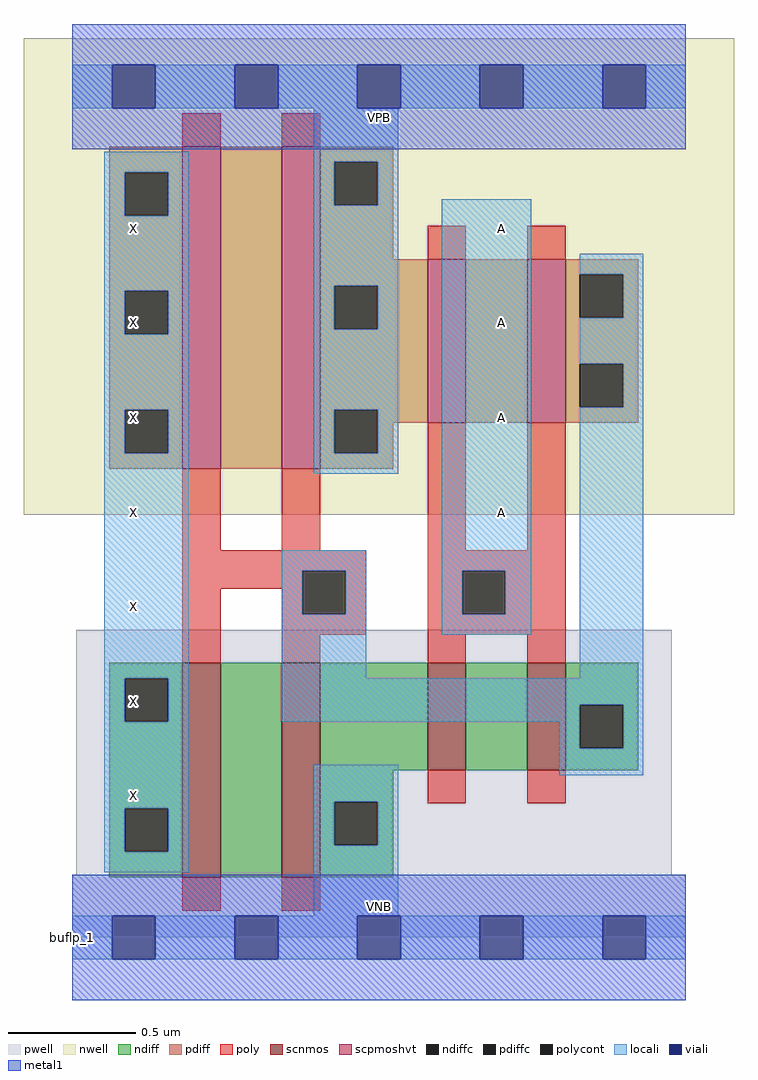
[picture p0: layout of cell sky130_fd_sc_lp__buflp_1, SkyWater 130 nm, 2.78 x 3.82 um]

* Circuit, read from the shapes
.subckt sky130_fd_sc_lp__buflp_1 A VGND VNB VPB VPWR X
XM1 n1 n2 X VNB sky130_fd_pr__nfet_01v8 w=0.84 l=0.15
XM2 VGND n2 n1 VNB sky130_fd_pr__nfet_01v8 w=0.84 l=0.15
XM3 n3 A VGND VNB sky130_fd_pr__nfet_01v8 w=0.42 l=0.15
XM4 n2 A n3 VNB sky130_fd_pr__nfet_01v8 w=0.42 l=0.15
XM5 n4 n2 X VPB sky130_fd_pr__pfet_01v8_hvt w=1.26 l=0.15
XM6 VPWR n2 n4 VPB sky130_fd_pr__pfet_01v8_hvt w=1.26 l=0.15
XM7 n5 A VPWR VPB sky130_fd_pr__pfet_01v8_hvt w=0.64 l=0.15
XM8 n2 A n5 VPB sky130_fd_pr__pfet_01v8_hvt w=0.64 l=0.15
.ends

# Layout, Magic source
magic
tech sky130A
magscale 1 2
<< nwell >>
rect -38 331 518 704
<< pwell >>
rect 3 49 469 241
rect 0 0 480 49
<< scnmos >>
rect 86 47 116 215
rect 164 47 194 215
rect 278 131 308 215
rect 356 131 386 215
<< scpmoshvt >>
rect 86 367 116 619
rect 164 367 194 619
rect 278 403 308 531
rect 356 403 386 531
<< ndiff >>
rect 29 203 86 215
rect 29 169 41 203
rect 75 169 86 203
rect 29 101 86 169
rect 29 67 41 101
rect 75 67 86 101
rect 29 47 86 67
rect 116 47 164 215
rect 194 131 278 215
rect 308 131 356 215
rect 386 182 443 215
rect 386 148 397 182
rect 431 148 443 182
rect 386 131 443 148
rect 194 106 251 131
rect 194 72 205 106
rect 239 72 251 106
rect 194 47 251 72
<< pdiff >>
rect 29 599 86 619
rect 29 565 41 599
rect 75 565 86 599
rect 29 506 86 565
rect 29 472 41 506
rect 75 472 86 506
rect 29 413 86 472
rect 29 379 41 413
rect 75 379 86 413
rect 29 367 86 379
rect 116 367 164 619
rect 194 607 251 619
rect 194 573 205 607
rect 239 573 251 607
rect 194 531 251 573
rect 194 510 278 531
rect 194 476 205 510
rect 239 476 278 510
rect 194 413 278 476
rect 194 379 205 413
rect 239 403 278 413
rect 308 403 356 531
rect 386 519 443 531
rect 386 485 397 519
rect 431 485 443 519
rect 386 449 443 485
rect 386 415 397 449
rect 431 415 443 449
rect 386 403 443 415
rect 239 379 251 403
rect 194 367 251 379
<< ndiffc >>
rect 41 169 75 203
rect 41 67 75 101
rect 397 148 431 182
rect 205 72 239 106
<< pdiffc >>
rect 41 565 75 599
rect 41 472 75 506
rect 41 379 75 413
rect 205 573 239 607
rect 205 476 239 510
rect 205 379 239 413
rect 397 485 431 519
rect 397 415 431 449
<< poly >>
rect 86 619 116 645
rect 164 619 194 645
rect 278 531 308 557
rect 356 531 386 557
rect 86 303 116 367
rect 164 303 194 367
rect 278 303 308 403
rect 356 303 386 403
rect 86 287 230 303
rect 86 273 180 287
rect 86 215 116 273
rect 164 253 180 273
rect 214 253 230 287
rect 164 237 230 253
rect 278 287 386 303
rect 278 253 305 287
rect 339 253 386 287
rect 278 237 386 253
rect 164 215 194 237
rect 278 215 308 237
rect 356 215 386 237
rect 278 105 308 131
rect 356 105 386 131
rect 86 21 116 47
rect 164 21 194 47
<< polycont >>
rect 180 253 214 287
rect 305 253 339 287
<< locali >>
rect 0 649 31 683
rect 65 649 127 683
rect 161 649 223 683
rect 257 649 319 683
rect 353 649 415 683
rect 449 649 480 683
rect 25 599 91 615
rect 25 565 41 599
rect 75 565 91 599
rect 25 506 91 565
rect 25 472 41 506
rect 75 472 91 506
rect 25 413 91 472
rect 25 379 41 413
rect 75 379 91 413
rect 25 203 91 379
rect 189 607 255 649
rect 189 573 205 607
rect 239 573 255 607
rect 189 510 255 573
rect 189 476 205 510
rect 239 476 255 510
rect 189 413 255 476
rect 189 379 205 413
rect 239 379 255 413
rect 189 363 255 379
rect 25 169 41 203
rect 75 169 91 203
rect 164 287 230 303
rect 164 253 180 287
rect 214 253 230 287
rect 164 203 230 253
rect 289 287 359 578
rect 289 253 305 287
rect 339 253 359 287
rect 289 237 359 253
rect 397 519 447 535
rect 431 485 447 519
rect 397 449 447 485
rect 431 415 447 449
rect 397 203 447 415
rect 164 182 447 203
rect 164 169 397 182
rect 25 101 91 169
rect 381 148 397 169
rect 431 148 447 182
rect 25 67 41 101
rect 75 67 91 101
rect 25 51 91 67
rect 189 106 255 135
rect 381 127 447 148
rect 189 72 205 106
rect 239 72 255 106
rect 189 17 255 72
rect 0 -17 31 17
rect 65 -17 127 17
rect 161 -17 223 17
rect 257 -17 319 17
rect 353 -17 415 17
rect 449 -17 480 17
<< viali >>
rect 31 649 65 683
rect 127 649 161 683
rect 223 649 257 683
rect 319 649 353 683
rect 415 649 449 683
rect 31 -17 65 17
rect 127 -17 161 17
rect 223 -17 257 17
rect 319 -17 353 17
rect 415 -17 449 17
<< metal1 >>
rect 0 683 480 715
rect 0 649 31 683
rect 65 649 127 683
rect 161 649 223 683
rect 257 649 319 683
rect 353 649 415 683
rect 449 649 480 683
rect 0 617 480 649
rect 0 17 480 49
rect 0 -17 31 17
rect 65 -17 127 17
rect 161 -17 223 17
rect 257 -17 319 17
rect 353 -17 415 17
rect 449 -17 480 17
rect 0 -49 480 -17
<< labels >>
flabel pwell s 0 0 480 49 0 FreeSans 200 0 0 0 VNB
port 3 nsew ground bidirectional
flabel nwell s 0 617 480 666 0 FreeSans 200 0 0 0 VPB
port 4 nsew power bidirectional
rlabel comment s 0 0 0 0 4 buflp_1
flabel metal1 s 0 617 480 666 0 FreeSans 340 0 0 0 VPWR
port 5 nsew power bidirectional
flabel metal1 s 0 0 480 49 0 FreeSans 340 0 0 0 VGND
port 2 nsew ground bidirectional
flabel locali s 319 316 353 350 0 FreeSans 340 0 0 0 A
port 1 nsew signal input
flabel locali s 319 390 353 424 0 FreeSans 340 0 0 0 A
port 1 nsew signal input
flabel locali s 319 464 353 498 0 FreeSans 340 0 0 0 A
port 1 nsew signal input
flabel locali s 319 538 353 572 0 FreeSans 340 0 0 0 A
port 1 nsew signal input
flabel locali s 31 94 65 128 0 FreeSans 340 0 0 0 X
port 6 nsew signal output
flabel locali s 31 168 65 202 0 FreeSans 340 0 0 0 X
port 6 nsew signal output
flabel locali s 31 242 65 276 0 FreeSans 340 0 0 0 X
port 6 nsew signal output
flabel locali s 31 316 65 350 0 FreeSans 340 0 0 0 X
port 6 nsew signal output
flabel locali s 31 390 65 424 0 FreeSans 340 0 0 0 X
port 6 nsew signal output
flabel locali s 31 464 65 498 0 FreeSans 340 0 0 0 X
port 6 nsew signal output
flabel locali s 31 538 65 572 0 FreeSans 340 0 0 0 X
port 6 nsew signal output
<< properties >>
string LEFsite unit
string LEFclass CORE
string FIXED_BBOX 0 0 480 666
string GDS_FILE $PDKPATH/libs.ref/sky130_fd_sc_lp/gds/sky130_fd_sc_lp.gds
string LEFsymmetry X Y R90
string GDS_END 6946476
string GDS_START 6941444
<< end >>
